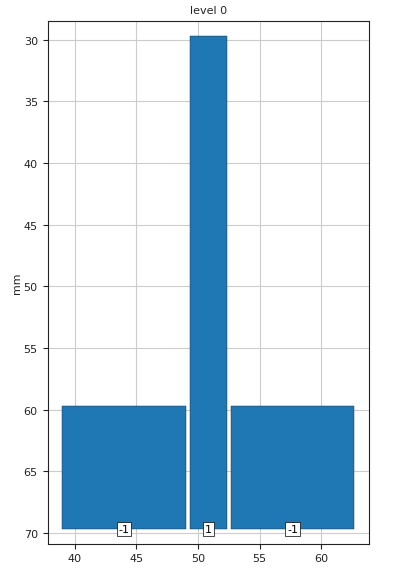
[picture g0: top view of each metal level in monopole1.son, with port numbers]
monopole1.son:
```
FTYP SONPROJ 3 ! Sonnet Project File
VER 11.54
HEADER
LIC Sonn.1.12345
DAT 04/23/2014 02:59:28
BUILT_BY_CREATED xgeom 11.54 04/23/2014 02:23:49
BUILT_BY_SAVED xgeom 11.54
MDATE 04/23/2014 02:58:56
HDATE 04/23/2014 02:58:56
END HEADER
DIM
FREQ GHZ
IND NH
LNG MM
ANG DEG
CON /OH
CAP PF
RES OH
END DIM
FREQ
ABS 1.5 3.5 
END FREQ
CONTROL
ABS
OPTIONS 
SPEED 1
CACHE_ABS 1
TARG_ABS 300
Q_ACC N
END CONTROL
GEO
TMET "Free Space" 0 FREESPACE 376.7303136 0 0 0
BMET "Free Space" 0 FREESPACE 376.7303136 0 0 0
BOX 2 99.999 99.999 600 600 20 0
      15 1 1 0 0 0 0 "Air"
      1.5 4.2 1 0.02 0 0 0 "FR4"
      15 1 1 0 0 0 0 "Air"
POR1 CUP A
POLY 20 1
2
1 50 0 0 0 50.83283715 69.66637068 
POR1 CUP A
POLY 23 1
2
-1 50 0 0 0 57.66613991 69.66607163 
POR1 CUP A
POLY 26 1
2
-1 50 0 0 0 43.99961232 69.66607163 
CUPGRP "A"
ID 32
GNDREF F
TWTYPE FEED
END
NUM 3
0 5 -1 N 20 1 1 100 100 0 0 0 Y
49.33283715 29.66637068
52.33283715 29.66637068
52.33283715 69.66637068
49.33283715 69.66637068
49.33283715 29.66637068
END
0 5 -1 N 23 1 1 100 100 0 0 0 Y
52.66613991 59.66607163
62.66613991 59.66607163
62.66613991 69.66607163
52.66613991 69.66607163
52.66613991 59.66607163
END
0 5 -1 N 26 1 1 100 100 0 0 0 Y
38.99961232 59.66607163
48.99961232 59.66607163
48.99961232 69.66607163
38.99961232 69.66607163
38.99961232 59.66607163
END
END GEO
OPT
MAX 100
VARS
END OPT
VARSWP
END VARSWP
QSG
IMPORT NO
EXTRA_METAL NO
UNITS YES
ALIGN NO
REF NO
VIEW_RES NO
METALS NO
USED YES
END QSG
3DOPTIONS
GLOBAL 10
ALL 2 1
END 3DOPTIONS
```
